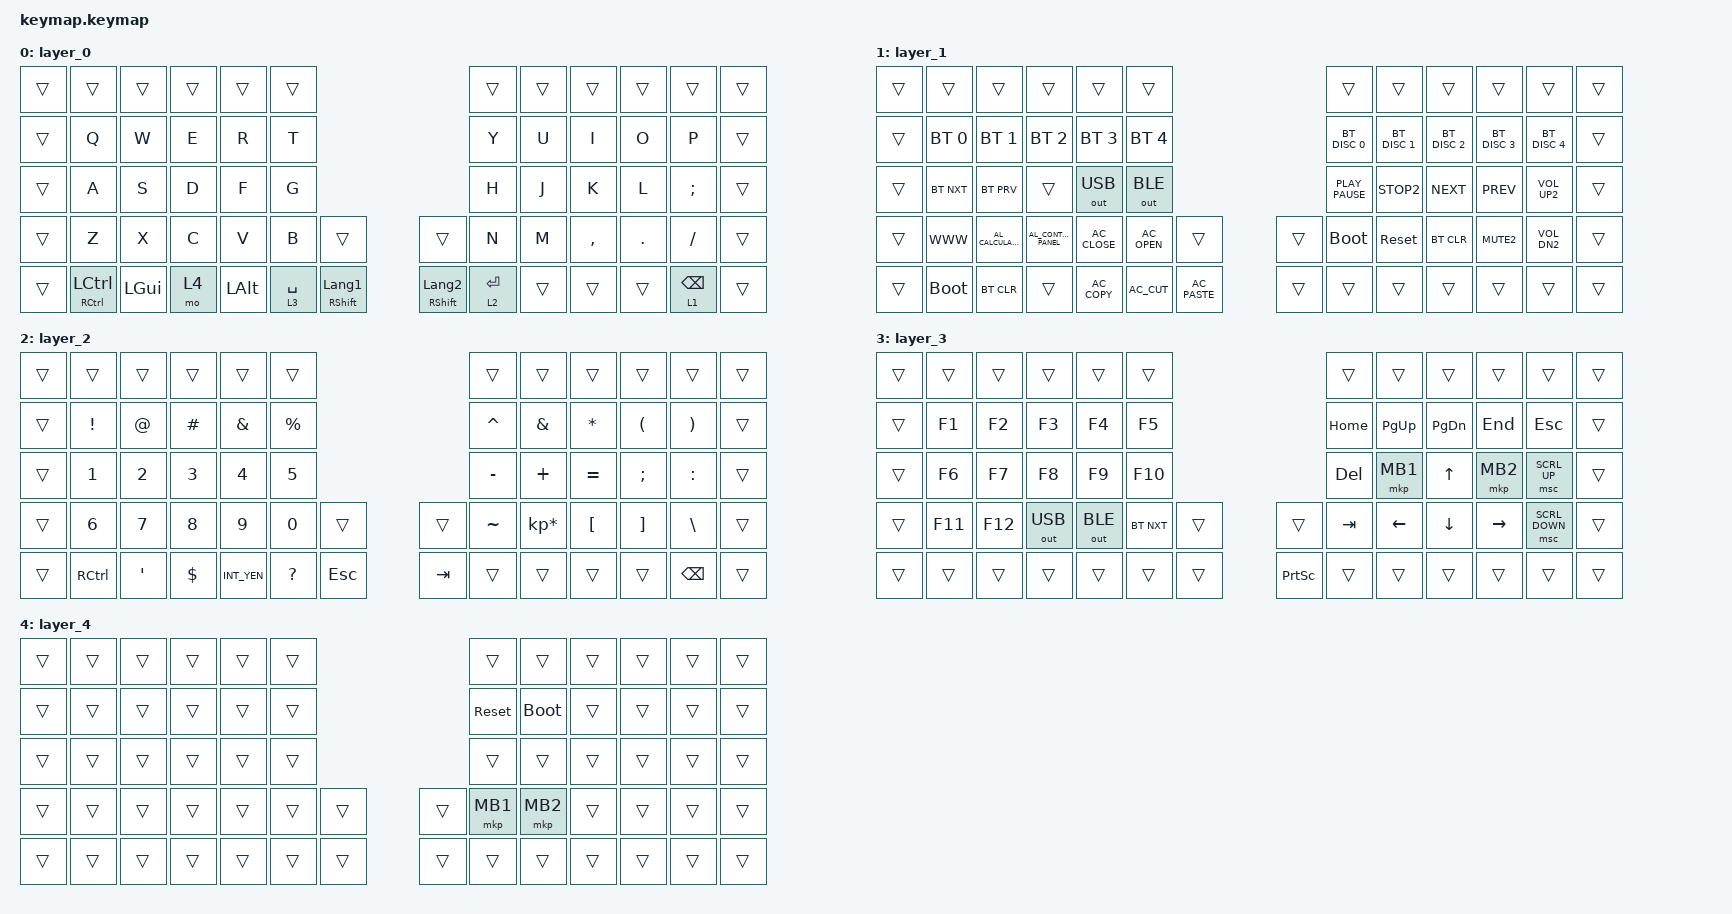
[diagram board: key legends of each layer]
#include <behaviors.dtsi>
#include <dt-bindings/zmk/bt.h>
#include <dt-bindings/zmk/keys.h>
#include <dt-bindings/zmk/outputs.h>
#include <dt-bindings/zmk/pointing.h>

/ {
    combos {
        compatible = "zmk,combos";

        bt_clear {
            bindings = <&bt BT_CLR>;
            key-positions = <28 29>;
            layers = <2>;
        };
    };

    keymap {
        compatible = "zmk,keymap";

        layer_0 {
            bindings = <
&trans  &trans           &trans    &trans  &trans        &trans                                                     &trans       &trans  &trans     &trans   &trans           &trans
&trans  &kp Q            &kp W     &kp E   &kp R         &kp T                                                      &kp Y        &kp U   &kp I      &kp O    &kp P            &trans
&trans  &kp A            &kp S     &kp D   &kp F         &kp G                                                      &kp H        &kp J   &kp K      &kp L    &kp SEMI         &trans
&trans  &kp Z            &kp X     &kp C   &kp V         &kp B        &trans                 &trans                 &kp N        &kp M   &kp COMMA  &kp DOT  &kp SLASH        &trans
&trans  &mt RCTRL LCTRL  &kp LGUI  &mo 4   &kp LEFT_ALT  &lt 3 SPACE  &mt RSHIFT LANGUAGE_1  &mt RSHIFT LANGUAGE_2  &lt 2 ENTER  &trans  &trans     &trans   &lt 1 BACKSPACE  &trans
            >;
        };

        layer_1 {
            bindings = <
&trans  &trans        &trans               &trans                  &trans          &trans                                 &trans            &trans         &trans         &trans         &trans         &trans
&trans  &bt BT_SEL 0  &bt BT_SEL 1         &bt BT_SEL 2            &bt BT_SEL 3    &bt BT_SEL 4                           &bt BT_DISC 0     &bt BT_DISC 1  &bt BT_DISC 2  &bt BT_DISC 3  &bt BT_DISC 4  &trans
&trans  &bt BT_NXT    &bt BT_PRV           &trans                  &out OUT_USB    &out OUT_BLE                           &kp K_PLAY_PAUSE  &kp K_STOP2    &kp K_NEXT     &kp K_PREV     &kp K_VOL_UP2  &trans
&trans  &kp K_WWW     &kp C_AL_CALCULATOR  &kp C_AL_CONTROL_PANEL  &kp C_AC_CLOSE  &kp C_AC_OPEN  &trans          &trans  &bootloader       &sys_reset     &bt BT_CLR     &kp K_MUTE2    &kp K_VOL_DN2  &trans
&trans  &bootloader   &bt BT_CLR           &trans                  &kp C_AC_COPY   &kp C_AC_CUT   &kp C_AC_PASTE  &trans  &trans            &trans         &trans         &trans         &trans         &trans
            >;
        };

        layer_2 {
            bindings = <
&trans  &trans     &trans          &trans      &trans       &trans                          &trans     &trans           &trans            &trans             &trans         &trans
&trans  &kp EXCL   &kp AT          &kp HASH    &kp AMPS     &kp PRCNT                       &kp CARET  &kp AMPS         &kp ASTRK         &kp LPAR           &kp RPAR       &trans
&trans  &kp N1     &kp N2          &kp N3      &kp N4       &kp N5                          &kp MINUS  &kp PLUS         &kp EQUAL         &kp SEMI           &kp COLON      &trans
&trans  &kp N6     &kp N7          &kp N8      &kp N9       &kp N0     &trans      &trans   &kp TILDE  &kp KP_ASTERISK  &kp LEFT_BRACKET  &kp RIGHT_BRACKET  &kp BACKSLASH  &trans
&trans  &kp RCTRL  &kp APOSTROPHE  &kp DOLLAR  &kp INT_YEN  &kp QMARK  &kp ESCAPE  &kp TAB  &trans     &trans           &trans            &trans             &kp BACKSPACE  &trans
            >;
        };

        layer_3 {
            bindings = <
&trans  &trans   &trans   &trans        &trans        &trans                               &trans      &trans          &trans          &trans           &trans          &trans
&trans  &kp F1   &kp F2   &kp F3        &kp F4        &kp F5                               &kp HOME    &kp PG_UP       &kp PAGE_DOWN   &kp END          &kp ESCAPE      &trans
&trans  &kp F6   &kp F7   &kp F8        &kp F9        &kp F10                              &kp DELETE  &mkp MB1        &kp UP_ARROW    &mkp MB2         &msc SCRL_UP    &trans
&trans  &kp F11  &kp F12  &out OUT_USB  &out OUT_BLE  &bt BT_NXT  &trans  &trans           &kp TAB     &kp LEFT_ARROW  &kp DOWN_ARROW  &kp RIGHT_ARROW  &msc SCRL_DOWN  &trans
&trans  &trans   &trans   &trans        &trans        &trans      &trans  &kp PRINTSCREEN  &trans      &trans          &trans          &trans           &trans          &trans
            >;
        };

        layer_4 {
            bindings = <
&trans  &trans  &trans  &trans  &trans  &trans                  &trans      &trans       &trans  &trans  &trans  &trans
&trans  &trans  &trans  &trans  &trans  &trans                  &sys_reset  &bootloader  &trans  &trans  &trans  &trans
&trans  &trans  &trans  &trans  &trans  &trans                  &trans      &trans       &trans  &trans  &trans  &trans
&trans  &trans  &trans  &trans  &trans  &trans  &trans  &trans  &mkp MB1    &mkp MB2     &trans  &trans  &trans  &trans
&trans  &trans  &trans  &trans  &trans  &trans  &trans  &trans  &trans      &trans       &trans  &trans  &trans  &trans
            >;
        };
    };
};
